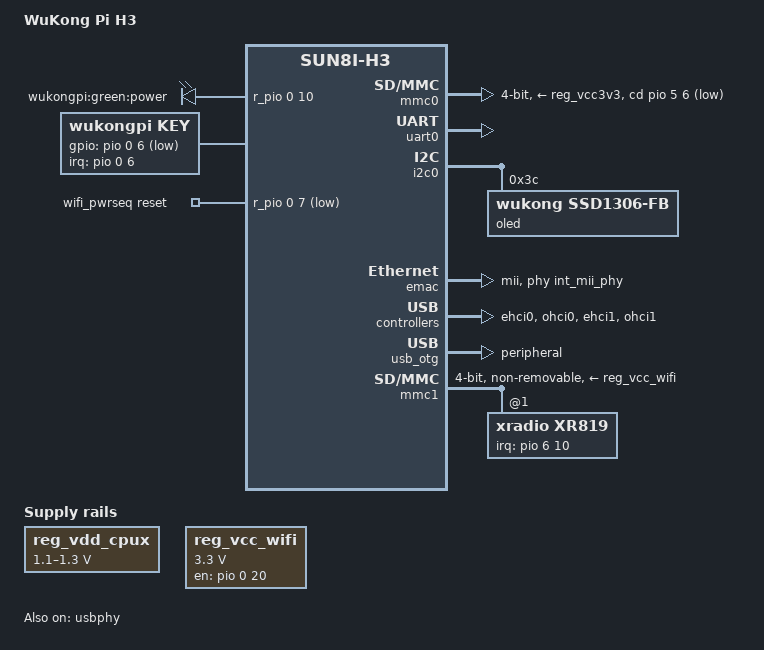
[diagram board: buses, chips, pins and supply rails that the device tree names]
/dts-v1/;

#include "sun8i-h3.dtsi"
#include "sunxi-common-regulators.dtsi"
#include <dt-bindings/interrupt-controller/irq.h>
#include <dt-bindings/gpio/gpio.h>

/ {
	model = "WuKong Pi H3";
	compatible = "wukong,wukongpi-h3", "allwinner,sun8i-h3";

	aliases {
		serial0 = &uart0;
		ethernet0 = &emac;
		ethernet1 = &xr819;
	};

	chosen {
		stdout-path = "serial0:115200n8";
	};

	leds {
		compatible = "gpio-leds";
		pinctrl-names = "default";
		pinctrl-0 = <&red_led_pins>;
		power-led {
			label = "wukongpi:green:power";
			gpios = <&r_pio 0 10 GPIO_ACTIVE_HIGH>;
			default-state = "on";
		};

		status-led {
			status = "disabled";
			label = "wukongpi:red:status";
			gpios = <&pio 0 17 GPIO_ACTIVE_HIGH>;
			default-state = "off";
		};
	};
	key{
		compatible = "wukongpi,key";
		pinctrl-names = "default";
		pinctrl-0 = <&key_pa6_pins>;
		gpios = <&pio 0 6 GPIO_ACTIVE_LOW>;

		interrupt-parent = <&pio>;
		interrupts = < 0 6 IRQ_TYPE_EDGE_BOTH>;


		status = "okay";
	};
	reg_vdd_cpux: vdd-cpux-regulator {
		compatible = "regulator-gpio";
		regulator-name = "vdd-cpux";
		regulator-type = "voltage";
		regulator-boot-on;
		regulator-always-on;
		regulator-min-microvolt = <1100000>;
		regulator-max-microvolt = <1300000>;
		regulator-ramp-delay = <50>;

		gpios = <&r_pio 0 6 GPIO_ACTIVE_HIGH>;
		enable-active-high;
		gpios-states = <1>;
		states = <1100000 0>, <1300000 1>;
	};
		reg_vcc_wifi: reg-vcc-wifi {
		compatible = "regulator-fixed";
		regulator-name = "vcc-wifi";
		regulator-min-microvolt = <3300000>;
		regulator-max-microvolt = <3300000>;
		gpio = <&pio 0 20 GPIO_ACTIVE_HIGH>;
		enable-active-high;
	};

	wifi_pwrseq: wifi-pwrseq {
		compatible = "mmc-pwrseq-simple";
		reset-gpios = <&r_pio 0 7 GPIO_ACTIVE_LOW>;
		post-power-on-delay-ms = <200>;
	};
	
};

&cpu0 {
	cpu-supply = <&reg_vdd_cpux>;
};

&mmc0 {
	vmmc-supply = <&reg_vcc3v3>;
	bus-width = <4>;
	cd-gpios = <&pio 5 6 GPIO_ACTIVE_LOW>;
	status = "okay";
};

&uart0 {
	pinctrl-names = "default";
	pinctrl-0 = <&uart0_pa_pins>;
	status = "okay";
};
&i2c0 {
	status = "okay";

	oled@3c {
		compatible = "wukong,ssd1306-fb";
		reg = <0x3c>;
		status = "okay";
	};
};
&emac {
	phy-handle = <&int_mii_phy>;
	phy-mode = "mii";
	allwinner,leds-active-low;
	status = "okay";
};

&ehci0 {
	status = "okay";
};

&ohci0 {
	status = "okay";
};

&ehci1 {
	status = "okay";
};

&ohci1 {
	status = "okay";
};

&usb_otg {
	dr_mode = "peripheral";
	status = "okay";
};

&usbphy {
	usb0_id_det-gpios = <&pio 6 12 GPIO_ACTIVE_HIGH>;
	status = "okay";
};
&mmc1 {
	vmmc-supply = <&reg_vcc_wifi>;
	mmc-pwrseq = <&wifi_pwrseq>;
	bus-width = <4>;
	non-removable;
	status = "okay";

	xr819: wifi@1 {
		reg = <1>;
		compatible = "xradio,xr819";
		interrupt-parent = <&pio>;
		interrupts = <6 10 IRQ_TYPE_EDGE_RISING>;
	};
};
&pio {
    red_led_pins: red-led-pins {
        pins = "PA17";
        function = "gpio_out";
        bias-disable;
        drive-stledrength = <20>;
    };
	key_pa6_pins: key_pa6_pins {
		pins = "PA6";
		function = "gpio_in";
		bias-pull-up;
	};
};
